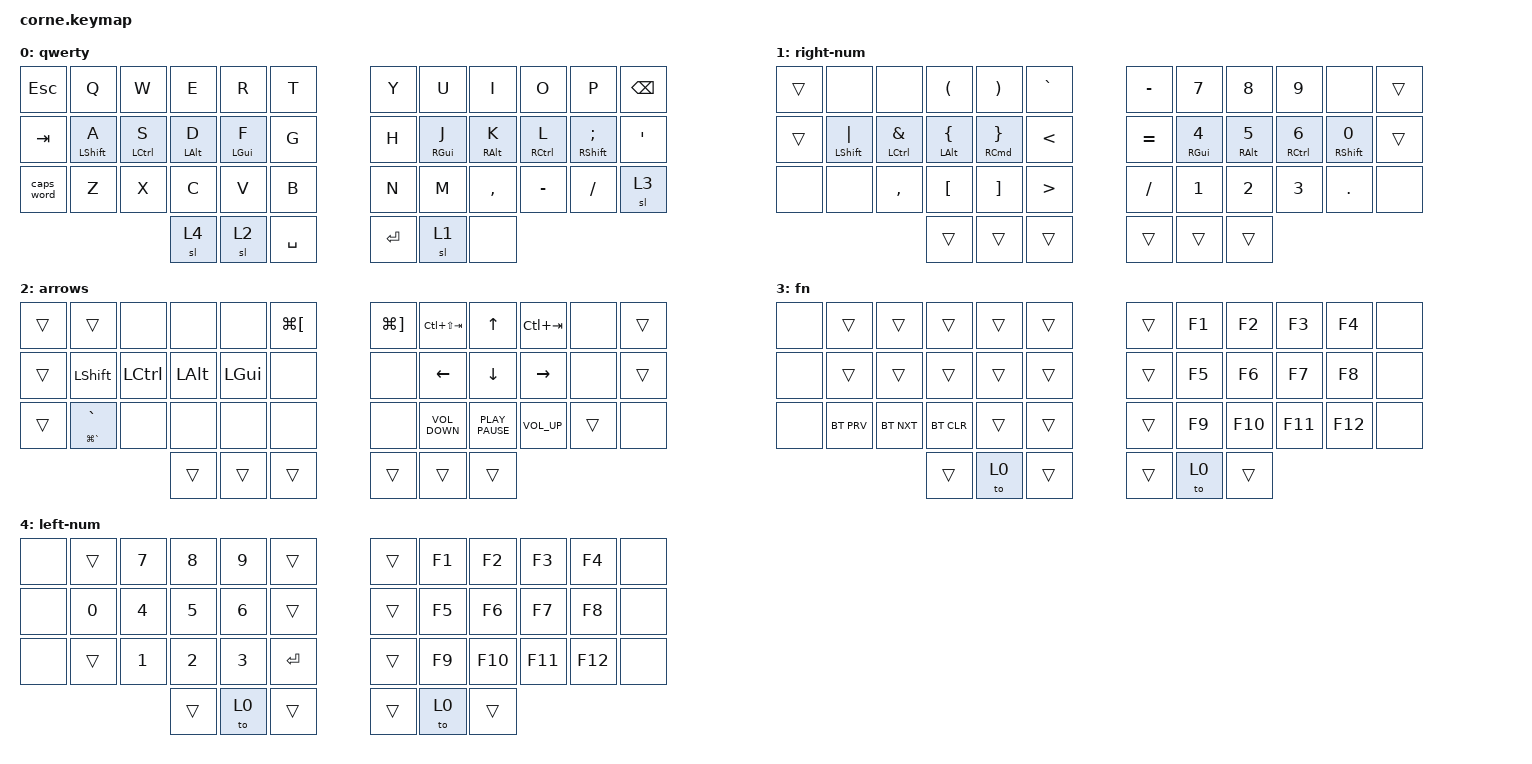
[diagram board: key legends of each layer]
/*
 * Copyright (c) 2020 The ZMK Contributors
 *
 * SPDX-License-Identifier: MIT
 */

#include <behaviors.dtsi>
#include <dt-bindings/zmk/keys.h>
#include <dt-bindings/zmk/bt.h>

/ {
    behaviors {
        hm: homerow_mods {
            compatible = "zmk,behavior-hold-tap";
            label = "HOMEROW_MODS";
            #binding-cells = <2>;
            flavor = "tap-preferred";
            tapping-term-ms = <200>;
            quick-tap-ms = <200>;
            require-prior-idle-ms = <125>;
            bindings = <&kp>, <&kp>;
        };

        td: tapdance {
            compatible = "zmk,behavior-hold-tap";
            label = "TAPDANCE";
            #binding-cells = <2>;
            tapping-term-ms = <150>;
            quick_tap_ms = <0>;
            flavor = "tap-preferred";
            bindings = <&kp>, <&kp>;
        };
   };

    keymap {
        compatible = "zmk,keymap";

        qwerty {
            display-name = "qwerty";
            bindings = <
&kp ESC     &kp Q             &kp W               &kp E       &kp R       &kp T        &kp Y       &kp U       &kp I       &kp O                &kp P                 &kp BACKSPACE
&kp TAB     &hm LEFT_SHIFT A  &hm LEFT_CONTROL S  &hm LALT D  &hm LGUI F  &kp G        &kp H       &hm RGUI J  &hm RALT K  &hm RIGHT_CONTROL L  &hm RIGHT_SHIFT SEMI  &kp SQT
&caps_word  &kp Z             &kp X               &kp C       &kp V       &kp B        &kp N       &kp M       &kp COMMA   &kp MINUS            &kp SLASH             &sl 3
                                                  &sl 4       &sl 2       &kp SPACE    &kp RETURN  &sl 1       &none
            >;
        };

        num {
            display-name = "right-num";
            bindings = <
&trans  &none                &none                       &kp LEFT_PARENTHESIS     &kp RIGHT_PARENTHESIS          &kp GRAVE           &kp MINUS  &kp N7                  &kp N8            &kp N9                      &none               &trans
&trans  &hm LEFT_SHIFT PIPE  &hm LEFT_CONTROL AMPERSAND  &hm LEFT_ALT LEFT_BRACE  &hm RIGHT_COMMAND RIGHT_BRACE  &kp LESS_THAN       &kp EQUAL  &hm RIGHT_GUI NUMBER_4  &hm RIGHT_ALT N5  &hm RIGHT_CONTROL NUMBER_6  &hm RIGHT_SHIFT N0  &trans
&none   &none                &kp COMMA                   &kp LEFT_BRACKET         &kp RIGHT_BRACKET              &kp GREATER_THAN    &kp SLASH  &kp N1                  &kp N2            &kp N3                      &kp PERIOD          &none
                                                         &trans                   &trans                         &trans              &trans     &trans                  &trans
            >;
        };

        arrows {
            display-name = "arrows";
            bindings = <
&trans  &trans               &none             &none           &none              &kp LG(LEFT_BRACKET)    &kp LG(RIGHT_BRACKET)  &kp LC(LS(TAB))    &kp UP            &kp LC(TAB)      &none   &trans
&trans  &kp LEFT_SHIFT       &kp LEFT_CONTROL  &kp LEFT_ALT    &kp LEFT_GUI       &none                   &none                  &kp LEFT_ARROW     &kp DOWN          &kp RIGHT        &none   &trans
&trans  &td LG(GRAVE) GRAVE  &none             &none  &none    &none              &none                   &kp K_VOLUME_DOWN      &kp K_PLAY_PAUSE   &kp C_VOLUME_UP   &trans  &none
                                               &trans          &trans             &trans                  &trans                 &trans             &trans
            >;
        };

        fn {    
            display-name = "fn";
            bindings = <
&none  &trans      &trans      &trans      &trans        &trans          &trans  &kp F1  &kp F2   &kp F3   &kp F4   &none
&none  &trans      &trans      &trans      &trans        &trans          &trans  &kp F5  &kp F6   &kp F7   &kp F8   &none
&none  &bt BT_PRV  &bt BT_NXT  &bt BT_CLR  &trans        &trans          &trans  &kp F9  &kp F10  &kp F11  &kp F12  &none
                               &trans      &to 0         &trans          &trans  &to 0   &trans
            >;
        };

        numlock {
            display-name = "left-num";
            bindings = <
&none  &trans      &kp N7      &kp N8      &kp N9        &trans          &trans  &kp F1  &kp F2   &kp F3   &kp F4   &none
&none  &kp 0       &kp N4      &kp N5      &kp N6        &trans          &trans  &kp F5  &kp F6   &kp F7   &kp F8   &none
&none  &trans      &kp N1      &kp N2      &kp N3        &kp RETURN      &trans  &kp F9  &kp F10  &kp F11  &kp F12  &none
                               &trans      &to 0         &trans          &trans  &to 0   &trans
            >;
        };

    };
};
